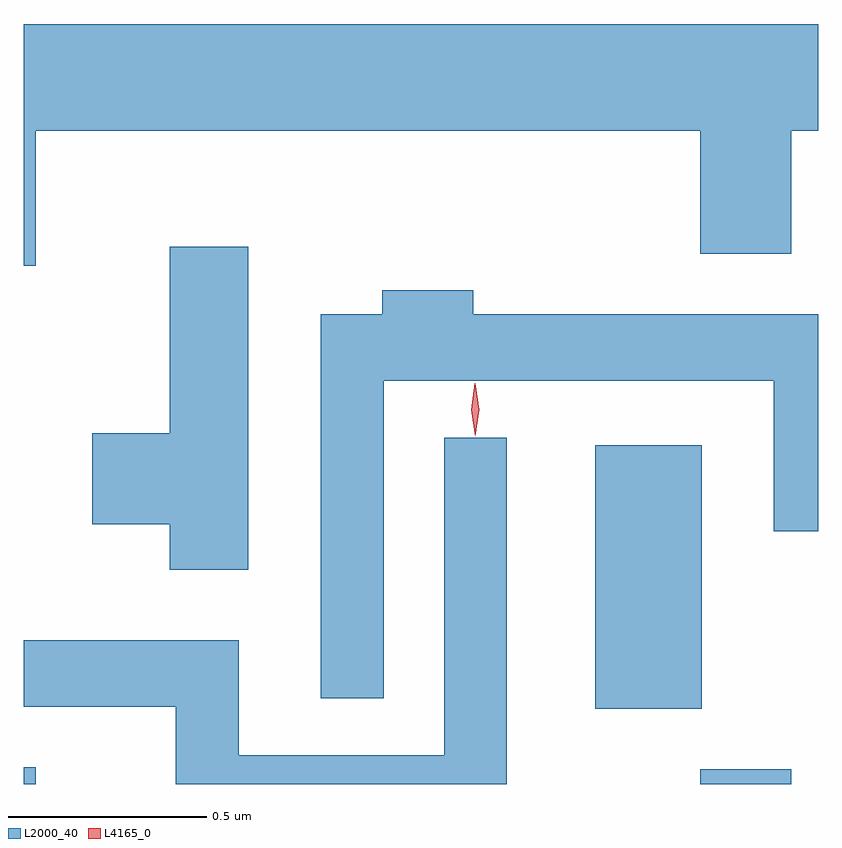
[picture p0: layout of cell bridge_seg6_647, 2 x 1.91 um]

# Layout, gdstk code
import gdstk
lib = gdstk.Library(unit=1e-6, precision=1e-09)
def R(c, l, rs):  # rectangles x0, y0, x1, y1
    for r in rs: c.add(gdstk.rectangle(r[:2], r[2:], *l))
def P(c, l, *ps):  # polygons
    for p in ps: c.add(gdstk.Polygon(p, *l))
L2000_40 = (2000, 40)
L4165_0 = (4165, 0)

bridge_seg6_647 = lib.new_cell('bridge_seg6_647')
R(bridge_seg6_647, L2000_40, [(524.248,1626.092,524.279,1626.134), (525.951,1626.092,526.179,1626.129), (525.686,1626.281,525.954,1626.944)])
P(bridge_seg6_647, L2000_40, [(524.279,1627.736),(525.951,1627.736),(525.951,1627.426),(526.179,1627.426),(526.179,1627.736),(526.248,1627.736),(526.248,1628.004),(524.248,1628.004),(524.248,1627.396),(524.279,1627.396)],
  [(524.814,1627.444),(524.616,1627.444),(524.616,1626.974),(524.421,1626.974),(524.421,1626.746),(524.616,1626.746),(524.616,1626.631),(524.814,1626.631)],
  [(525.154,1627.106),(526.136,1627.106),(526.136,1626.728),(526.248,1626.728),(526.248,1627.274),(525.379,1627.274),(525.379,1627.334),(525.151,1627.334),(525.151,1627.274),(524.996,1627.274),(524.996,1626.308),(525.154,1626.308)],
  [(525.464,1626.963),(525.306,1626.963),(525.306,1626.164),(524.789,1626.164),(524.789,1626.454),(524.248,1626.454),(524.248,1626.286),(524.631,1626.286),(524.631,1626.092),(525.464,1626.092)])
P(bridge_seg6_647, L4165_0, [(525.384,1626.967),(525.384,1626.967),(525.374,1627.034),(525.383,1627.1),(525.384,1627.1),(525.384,1627.1),(525.394,1627.034),(525.384,1626.967)])

lib.write_gds('bridge_seg6_647.gds')
